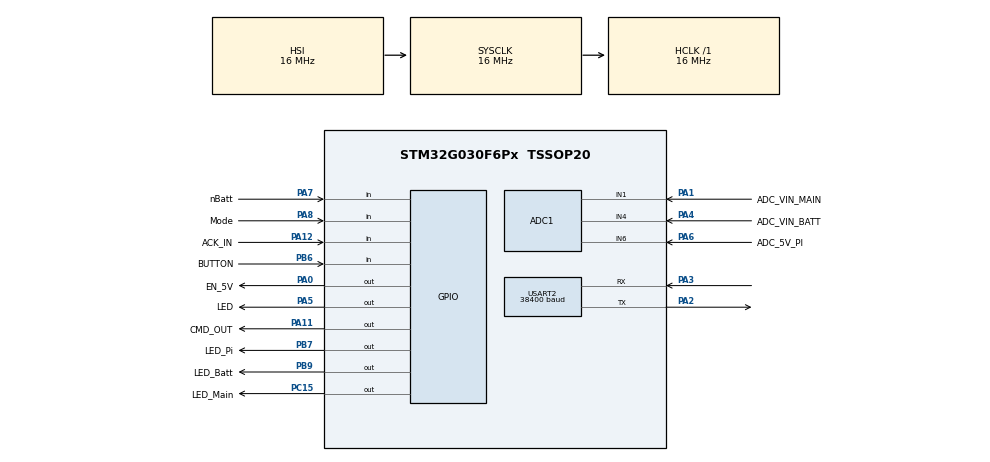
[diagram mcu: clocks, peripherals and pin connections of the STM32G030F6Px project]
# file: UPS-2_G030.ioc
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Mcu.Family=STM32G0
PA2.GPIO_PuPd=GPIO_PULLUP
ADC1.RightBitShift=ADC_RIGHTBITSHIFT_3
PA6.Mode=IN6
RCC.CortexFreq_Value=16000000
VP_ADC1_TempSens_Input.Mode=IN-TempSens
Dma.ADC1.0.Polarity=HAL_DMAMUX_REQ_GEN_RISING
PA11\ [PA9].GPIO_Label=CMD_OUT
PA12\ [PA10].GPIO_Label=ACK_IN
PA3.GPIO_PuPd=GPIO_PULLDOWN
PA0.GPIO_Label=EN_5V
PA14-BOOT0.Mode=Serial_Wire
PA2.GPIO_Speed=GPIO_SPEED_FREQ_MEDIUM
PA6.GPIO_Label=ADC_5V_PI
PB6.GPIO_Label=BUTTON
ADC1.SamplingTimeCommon1=ADC_SAMPLETIME_39CYCLES_5
ProjectManager.StackSize=0x400
NVIC.ADC1_IRQn=true\:0\:0\:false\:false\:true\:true\:true
PA4.Mode=IN4
RCC.HCLKFreq_Value=16000000
PA12\ [PA10].Signal=GPIO_Input
TIM3.Period=1
PB6.Signal=GPIO_Input
Dma.ADC1.0.Direction=DMA_PERIPH_TO_MEMORY
Dma.ADC1.0.MemDataAlignment=DMA_MDATAALIGN_HALFWORD
RCC.AHBFreq_Value=16000000
PA14-BOOT0.Signal=SYS_SWCLK
RCC.HSE_VALUE=8000000
USART2.VirtualMode-Asynchronous=VM_ASYNC
TIM3.Prescaler=8000
Dma.ADC1.0.PeriphInc=DMA_PINC_DISABLE
PB7.Signal=GPIO_Output
PA8.Signal=GPIO_Input
PA0.Signal=GPIO_Output
PB7.GPIO_Label=LED_Pi
ADC1.SelectedChannel=ADC_CHANNEL_1|ADC_CHANNEL_4|ADC_CHANNEL_6|ADC_CHANNEL_TEMPSENSOR
PB9.Signal=GPIO_Output
Mcu.Package=TSSOP20
PA6.Signal=ADC1_IN6
ADC1.OversamplingMode=ENABLE
PA0.GPIO_PuPd=GPIO_NOPULL
PA11\ [PA9].GPIO_ModeDefaultOutputPP=GPIO_MODE_OUTPUT_OD
Dma.Request0=ADC1
PA4.GPIO_Label=ADC_VIN_BATT
ADC1.EOCSelection=ADC_EOC_SEQ_CONV
VP_TIM3_VS_ClockSourceINT.Mode=Internal
PA0.GPIO_ModeDefaultOutputPP=GPIO_MODE_OUTPUT_PP
Dma.ADC1.0.EventEnable=DISABLE
PA3.Signal=USART2_RX
Dma.ADC1.0.Instance=DMA1_Channel1
PC15-OSC32_OUT\ (PC15).GPIO_Label=LED_Main
ADC1.Sequencer=NOT_FULLY_CONFIGURABLE
PA2.GPIO_ModeDefaultPP=GPIO_MODE_AF_OD
PB9.GPIO_Label=LED_Batt
PA11\ [PA9].GPIO_Speed=GPIO_SPEED_FREQ_LOW
USART2.DMADisableonRxErrorParam=ADVFEATURE_DMA_DISABLEONRXERROR
Dma.ADC1.0.SyncRequestNumber=1
PB6.GPIO_PuPd=GPIO_PULLUP
ADC1.DiscontinuousConvMode=ENABLE
RCC.EXTERNAL_CLOCK_VALUE=12288000
PC15-OSC32_OUT\ (PC15).Signal=GPIO_Output
NVIC.USART2_IRQn=true\:0\:0\:false\:false\:true\:true\:true
USART2.BaudRate=38400
PA13.Signal=SYS_SWDIO
PA3.Mode=Asynchronous
Dma.ADC1.0.PeriphDataAlignment=DMA_PDATAALIGN_HALFWORD
PA8.GPIO_Label=Mode
ProjectManager.TargetToolchain=STM32CubeIDE
Dma.ADC1.0.Mode=DMA_NORMAL
Dma.ADC1.0.SignalID=NONE
Dma.ADC1.0.SyncSignalID=NONE
Dma.ADC1.0.Priority=DMA_PRIORITY_LOW
PA11\ [PA9].GPIO_PuPd=GPIO_NOPULL
ADC1.Ratio=ADC_OVERSAMPLING_RATIO_8
RCC.LSE_VALUE=32768
PA7.GPIO_PuPd=GPIO_PULLUP
PA1.Signal=ADC1_IN1
PA5.Signal=GPIO_Output
board=custom
RCC.VCOOutputFreq_Value=128000000
NVIC.TIM3_IRQn=true\:0\:0\:false\:false\:true\:true\:true
Dma.ADC1.0.SyncPolarity=HAL_DMAMUX_SYNC_NO_EVENT
PA1.Mode=IN1
RCC.ADCFreq_Value=16000000
PA1.GPIO_Label=ADC_VIN_MAIN
PA11\ [PA9].PinState=GPIO_PIN_SET
ADC1.NbrOfConversion=1
PA13.Mode=Serial_Wire
PA11\ [PA9].Signal=GPIO_Output
Mcu.Name=STM32G030F6Px
PA2.Signal=USART2_TX
PA4.Signal=ADC1_IN4
RCC.SYSCLKFreq_VALUE=16000000
PA7.GPIO_Label=nBatt
ADC1.master=1
PA5.GPIO_Label=LED
ADC1.TriggerFrequencyMode=ADC_TRIGGER_FREQ_LOW
Dma.ADC1.0.RequestNumber=1
Dma.ADC1.0.SyncEnable=DISABLE
Dma.ADC1.0.MemInc=DMA_MINC_ENABLE
ProjectManager.HeapSize=0x200
PA12\ [PA10].GPIO_PuPd=GPIO_NOPULL
RCC.HSI_VALUE=16000000
PA8.GPIO_PuPd=GPIO_PULLUP
ADC1.NbrOfConversionFlag=0
PA2.Mode=Asynchronous
NVIC.DMA1_Channel1_IRQn=true\:0\:0\:false\:false\:true\:false\:true
PA7.Signal=GPIO_Input

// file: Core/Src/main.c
/* USER CODE BEGIN Header */
/*! @addtogroup Main
@{ */

/**
  ******************************************************************************
  * @file           : main.c
  * @brief          : Main program
  ******************************************************************************
  * @attention
  *
  * <h2><center>&copy; Copyright (c) 2020-2021 Klaus Mezger, ECOM ENGINEERING
  * Open Source licensed under BSD-2-Clause</center></h2>
  *
  * Development base software component is licensed by ST under BSD 3-Clause license,
  * the "License"; You may not use this file except in compliance with the
  * License. You may obtain a copy of the License at:
  *                        opensource.org/licenses/BSD-3-Clause
  *
  ******************************************************************************
  */
/* USER CODE END Header */
#include "main.h"

/* USER CODE BEGIN Includes */
#include "stdio.h"
#include "timer.h"
#include "interface.h"
#include "lowlevel.h"
#include "jump_bootloader.h"

/* USER CODE END Includes */

/* USER CODE BEGIN PTD */

typedef enum
{
	KEY_STATE_WAIT,
	KEY_STATE_DEBOUNCE,
	KEY_STATE_PRESSED,
	KEY_STATE_RELEASED,
	KEY_STATE_CHECK_DOUBLE,
	KEY_STATE_SUPER_LONG,
	KEY_STATE_LONG,
	KEY_STATE_SHORT,
	KEY_STATE_WAIT_RELEASE,
	KEY_STATE_DOUBLE
}eKeyStates_t;

/* USER CODE END PTD */

/* USER CODE BEGIN PD */
//#define KEY_T_SHORT 		200   	//ms
#define KEY_T_LONG 			(2000)  //ms
#define KEY_T_SUPER_LONG	(5000)
#define KEY_T_DEBOUNCE 		20		//ms
#define KEY_T_DBL_WINDOW	350	//ms
#define ADC_DMA_BUF_SIZE	32		//bytes --> 4 * 16Bit elements

/* USER CODE END PD */

ADC_HandleTypeDef hadc1;
DMA_HandleTypeDef hdma_adc1;

TIM_HandleTypeDef htim3;

/* USER CODE BEGIN PV */
volatile eKeyStates_t g_keyState;
__IO ITStatus UartReady = RESET;
uint8_t g_adcRdy;

/* USER CODE END PV */

void SystemClock_Config(void);
static void MX_GPIO_Init(void);
static void MX_DMA_Init(void);
static void MX_ADC1_Init(void);
static void MX_TIM3_Init(void);
static void MX_USART2_UART_Init(void);
/* USER CODE BEGIN PFP */
eKeyPress_t ecGetKey(void);
void ecDecodeKey(void);
void ecRx_Init(void);
//void ecTxString(char *String, size_t Size); //proto in main.h

/* USER CODE END PFP */

/* USER CODE BEGIN 0 */
char *ecFormatFixptStr(int16_t Raw_value)
{
    static char retStr[16];
    snprintf(retStr, sizeof(retStr)-1, "%d.%01d", Raw_value/10, (Raw_value % 10));
    return retStr;
}

/* USER CODE END 0 */

int main(void)
{
  /* USER CODE BEGIN 1 */
    eKeyPress_t keyPress;
    ePiState_t piState = PI_STATE_UNKNOWN;
    char mainMessage[81];
    uint16_t charsWritten;
#ifdef SERIAL_DEBUG
    char rxStrBuf[80];
#endif

  /* USER CODE END 1 */

  /* MCU Configuration--------------------------------------------------------*/

  /* Reset of all peripherals, Initializes the Flash interface and the Systick. */
  HAL_Init();

  /* Configure the system clock */
  SystemClock_Config();

  /* Initialize all configured peripherals */
  MX_GPIO_Init();
  MX_DMA_Init();
  MX_ADC1_Init();
  MX_TIM3_Init();
  MX_USART2_UART_Init();
  /* USER CODE BEGIN 2 */

  HAL_TIM_Base_Start_IT(&htim3); //1ms Timer
  ecSWTimerInit();
  ecLEDinit();

  if (HAL_GPIO_ReadPin(BUTTON_GPIO_Port, BUTTON_Pin) == 0) //check if bootloader requested
  {

	  ecSetLED(LED_Pi, LED_ON);
	  ecSetLED(LED_Main, LED_ON);
	  ecSetLED(LED_Batt, LED_ON);
	  ecSWTimerStart(DELAY_TIMER, KEY_T_LONG); //wait
	  int key = 1;
	  while(ecSWTimerRead(DELAY_TIMER) > 0)
	  {
		  key = HAL_GPIO_ReadPin(BUTTON_GPIO_Port, BUTTON_Pin); //check if button still active
		  if (key == 1)
			  break;
	  }
	  if(key == 0)
	  {
		JumpToBootloader();
	  }
	  ecSetLED(LED_Pi, LED_OFF);
	  ecSetLED(LED_Main, LED_OFF);
	  ecSetLED(LED_Batt, LED_OFF);

  }

  /* Run ADC calibration */
  if (HAL_ADCEx_Calibration_Start(&hadc1) != HAL_OK)
  {
    /* Calibration Error */
    Error_Handler();
  }

  g_sys_Mode = HAL_GPIO_ReadPin( Mode_GPIO_Port , Mode_Pin);

  strcpy(mainMessage, "\r\nUPS-2 Starting up ...\r\n" );
  ecTxString(mainMessage, strlen(mainMessage));
  ecRx_Init();

  HAL_GPIO_WritePin(CMD_OUT_GPIO_Port, CMD_OUT_Pin, GPIO_PIN_SET); //prepare Pi startup
  HAL_GPIO_WritePin(EN_5V_GPIO_Port,  EN_5V_Pin, GPIO_PIN_SET); //turn 5V Pi ON

  ecSWTimerStart(DELAY_TIMER, 1000); //wait s, allow system and power stabilization
  while(ecSWTimerRead(DELAY_TIMER));

//  HAL_UART_Receive_IT(&huart2,(uint8_t *)aRxBuffer, 1 );
  /* USER CODE END 2 */

  /* Infinite loop */
  /* USER CODE BEGIN WHILE */

  while (1)
  {

//toDo if piState == power OFF --> LED's short flashes for power save, CPU sleep until interrupts
	  if(g_adcRdy)
	  {
		  g_adcRdy = 0;
		  g_powerState = ecAnalogHandler(g_adc_voltages);
          if(ecSWTimerRead(MESSAGE_TIMER) == 0)
         {
             ecSWTimerStart(MESSAGE_TIMER, 1000);
             charsWritten = sprintf(g_analogStr,"%s",ecFormatFixptStr(g_adc_voltages.main_voltage));
             charsWritten += sprintf(&g_analogStr[charsWritten],",%s",ecFormatFixptStr(g_adc_voltages.batt_voltage));
             charsWritten += sprintf(&g_analogStr[charsWritten],",%d\n",g_adc_voltages.CPU_temp/10);

#ifdef SERIAL_DEBUG
//             ecTxString(mainMessage, strlen(mainMessage));
#endif
         }

	  }
	  else
	  {
		  HAL_ADC_Start_DMA(&hadc1, (uint32_t *)&g_adc_buf, 4);
	  }

#ifdef SERIAL_DEBUG
      charsWritten = ecGetRxString(rxStrBuf, sizeof(rxStrBuf));
      if(charsWritten)
      {
          sprintf(mainMessage, "Rx: %s, %d chars\r\n", rxStrBuf,charsWritten);

          ecTxString(mainMessage, strlen(mainMessage));
      }
#endif

	  keyPress = ecGetKey();
	  if(g_sys_Mode == SYS_MODE_PARALLEL)
	  {
	      ecPortExecCommand(keyPress);
	      piState = ecPortHandleFeedback(keyPress, piState);
	  }
	  else
	  {
          ecSerialExecCommand(keyPress);
          piState = ecSerialHandleFeedback(keyPress, piState);
	  }

    /* USER CODE END WHILE */

  }
}

void SystemClock_Config(void)
{
  RCC_OscInitTypeDef RCC_OscInitStruct = {0};
  RCC_ClkInitTypeDef RCC_ClkInitStruct = {0};
  RCC_PeriphCLKInitTypeDef PeriphClkInit = {0};

  /** Configure the main internal regulator output voltage
  */
  HAL_PWREx_ControlVoltageScaling(PWR_REGULATOR_VOLTAGE_SCALE1);
  /** Initializes the RCC Oscillators according to the specified parameters
  * in the RCC_OscInitTypeDef structure.
  */
  RCC_OscInitStruct.OscillatorType = RCC_OSCILLATORTYPE_HSI;
  RCC_OscInitStruct.HSIState = RCC_HSI_ON;
  RCC_OscInitStruct.HSIDiv = RCC_HSI_DIV1;
  RCC_OscInitStruct.HSICalibrationValue = RCC_HSICALIBRATION_DEFAULT;
  RCC_OscInitStruct.PLL.PLLState = RCC_PLL_NONE;
  if (HAL_RCC_OscConfig(&RCC_OscInitStruct) != HAL_OK)
  {
    Error_Handler();
  }
  /** Initializes the CPU, AHB and APB buses clocks
  */
  RCC_ClkInitStruct.ClockType = RCC_CLOCKTYPE_HCLK|RCC_CLOCKTYPE_SYSCLK
                              |RCC_CLOCKTYPE_PCLK1;
  RCC_ClkInitStruct.SYSCLKSource = RCC_SYSCLKSOURCE_HSI;
  RCC_ClkInitStruct.AHBCLKDivider = RCC_SYSCLK_DIV1;
  RCC_ClkInitStruct.APB1CLKDivider = RCC_HCLK_DIV1;

  if (HAL_RCC_ClockConfig(&RCC_ClkInitStruct, FLASH_LATENCY_0) != HAL_OK)
  {
    Error_Handler();
  }
  /** Initializes the peripherals clocks
  */
  PeriphClkInit.PeriphClockSelection = RCC_PERIPHCLK_ADC;
  PeriphClkInit.AdcClockSelection = RCC_ADCCLKSOURCE_SYSCLK;
  if (HAL_RCCEx_PeriphCLKConfig(&PeriphClkInit) != HAL_OK)
  {
    Error_Handler();
  }
}

static void MX_ADC1_Init(void)
{

  ADC_ChannelConfTypeDef sConfig = {0};

  /** Configure the global features of the ADC (Clock, Resolution, Data Alignment and number of conversion)
  */
  hadc1.Instance = ADC1;
  hadc1.Init.ClockPrescaler = ADC_CLOCK_SYNC_PCLK_DIV2;
  hadc1.Init.Resolution = ADC_RESOLUTION_12B;
  hadc1.Init.DataAlign = ADC_DATAALIGN_RIGHT;
  hadc1.Init.ScanConvMode = ADC_SCAN_SEQ_FIXED;
  hadc1.Init.EOCSelection = ADC_EOC_SEQ_CONV;
  hadc1.Init.LowPowerAutoWait = DISABLE;
  hadc1.Init.LowPowerAutoPowerOff = DISABLE;
  hadc1.Init.ContinuousConvMode = DISABLE;
  hadc1.Init.NbrOfConversion = 1;
  hadc1.Init.DiscontinuousConvMode = ENABLE;
  hadc1.Init.ExternalTrigConv = ADC_SOFTWARE_START;
  hadc1.Init.ExternalTrigConvEdge = ADC_EXTERNALTRIGCONVEDGE_NONE;
  hadc1.Init.DMAContinuousRequests = DISABLE;
  hadc1.Init.Overrun = ADC_OVR_DATA_PRESERVED;
  hadc1.Init.SamplingTimeCommon1 = ADC_SAMPLETIME_39CYCLES_5;
  hadc1.Init.OversamplingMode = ENABLE;
  hadc1.Init.Oversampling.Ratio = ADC_OVERSAMPLING_RATIO_8;
  hadc1.Init.Oversampling.RightBitShift = ADC_RIGHTBITSHIFT_3;
  hadc1.Init.Oversampling.TriggeredMode = ADC_TRIGGEREDMODE_SINGLE_TRIGGER;
  hadc1.Init.TriggerFrequencyMode = ADC_TRIGGER_FREQ_LOW;
  if (HAL_ADC_Init(&hadc1) != HAL_OK)
  {
    Error_Handler();
  }
  /** Configure Regular Channel
  */
  sConfig.Channel = ADC_CHANNEL_1;
  sConfig.Rank = ADC_RANK_CHANNEL_NUMBER;
  if (HAL_ADC_ConfigChannel(&hadc1, &sConfig) != HAL_OK)
  {
    Error_Handler();
  }
  /** Configure Regular Channel
  */
  sConfig.Channel = ADC_CHANNEL_4;
  if (HAL_ADC_ConfigChannel(&hadc1, &sConfig) != HAL_OK)
  {
    Error_Handler();
  }
  /** Configure Regular Channel
  */
  sConfig.Channel = ADC_CHANNEL_6;
  if (HAL_ADC_ConfigChannel(&hadc1, &sConfig) != HAL_OK)
  {
    Error_Handler();
  }
  /** Configure Regular Channel
  */
  sConfig.Channel = ADC_CHANNEL_TEMPSENSOR;
  if (HAL_ADC_ConfigChannel(&hadc1, &sConfig) != HAL_OK)
  {
    Error_Handler();
  }
  /* USER CODE BEGIN ADC1_Init 2 */
//  g_hadc1 = hadc1; //make handle global
  /* USER CODE END ADC1_Init 2 */

}

static void MX_TIM3_Init(void)
{

  TIM_ClockConfigTypeDef sClockSourceConfig = {0};
  TIM_MasterConfigTypeDef sMasterConfig = {0};

  htim3.Instance = TIM3;
  htim3.Init.Prescaler = 8000;
  htim3.Init.CounterMode = TIM_COUNTERMODE_UP;
  htim3.Init.Period = 1;
  htim3.Init.ClockDivision = TIM_CLOCKDIVISION_DIV1;
  htim3.Init.AutoReloadPreload = TIM_AUTORELOAD_PRELOAD_DISABLE;
  if (HAL_TIM_Base_Init(&htim3) != HAL_OK)
  {
    Error_Handler();
  }
  sClockSourceConfig.ClockSource = TIM_CLOCKSOURCE_INTERNAL;
  if (HAL_TIM_ConfigClockSource(&htim3, &sClockSourceConfig) != HAL_OK)
  {
    Error_Handler();
  }
  sMasterConfig.MasterOutputTrigger = TIM_TRGO_RESET;
  sMasterConfig.MasterSlaveMode = TIM_MASTERSLAVEMODE_DISABLE;
  if (HAL_TIMEx_MasterConfigSynchronization(&htim3, &sMasterConfig) != HAL_OK)
  {
    Error_Handler();
  }

}

static void MX_USART2_UART_Init(void)
{

  LL_USART_InitTypeDef USART_InitStruct = {0};

  LL_GPIO_InitTypeDef GPIO_InitStruct = {0};

  /* Peripheral clock enable */
  LL_APB1_GRP1_EnableClock(LL_APB1_GRP1_PERIPH_USART2);

  LL_IOP_GRP1_EnableClock(LL_IOP_GRP1_PERIPH_GPIOA);
  /**USART2 GPIO Configuration
  PA2   ------> USART2_TX
  PA3   ------> USART2_RX
  */
  GPIO_InitStruct.Pin = LL_GPIO_PIN_2;
  GPIO_InitStruct.Mode = LL_GPIO_MODE_ALTERNATE;
  GPIO_InitStruct.Speed = LL_GPIO_SPEED_FREQ_MEDIUM;
  GPIO_InitStruct.OutputType = LL_GPIO_OUTPUT_OPENDRAIN;
  GPIO_InitStruct.Pull = LL_GPIO_PULL_UP;
  GPIO_InitStruct.Alternate = LL_GPIO_AF_1;
  LL_GPIO_Init(GPIOA, &GPIO_InitStruct);

  GPIO_InitStruct.Pin = LL_GPIO_PIN_3;
  GPIO_InitStruct.Mode = LL_GPIO_MODE_ALTERNATE;
  GPIO_InitStruct.Speed = LL_GPIO_SPEED_FREQ_LOW;
  GPIO_InitStruct.OutputType = LL_GPIO_OUTPUT_PUSHPULL;
  GPIO_InitStruct.Pull = LL_GPIO_PULL_DOWN;
  GPIO_InitStruct.Alternate = LL_GPIO_AF_1;
  LL_GPIO_Init(GPIOA, &GPIO_InitStruct);

  /* USART2 interrupt Init */
  NVIC_SetPriority(USART2_IRQn, 0);
  NVIC_EnableIRQ(USART2_IRQn);

  USART_InitStruct.PrescalerValue = LL_USART_PRESCALER_DIV1;
  USART_InitStruct.BaudRate = 38400;
  USART_InitStruct.DataWidth = LL_USART_DATAWIDTH_8B;
  USART_InitStruct.StopBits = LL_USART_STOPBITS_1;
  USART_InitStruct.Parity = LL_USART_PARITY_NONE;
  USART_InitStruct.TransferDirection = LL_USART_DIRECTION_TX_RX;
  USART_InitStruct.HardwareFlowControl = LL_USART_HWCONTROL_NONE;
  USART_InitStruct.OverSampling = LL_USART_OVERSAMPLING_16;
  LL_USART_Init(USART2, &USART_InitStruct);
  LL_USART_DisableDMADeactOnRxErr(USART2);
  LL_USART_ConfigAsyncMode(USART2);

  LL_USART_Enable(USART2);

  /* Polling USART2 initialisation */
  while((!(LL_USART_IsActiveFlag_TEACK(USART2))) || (!(LL_USART_IsActiveFlag_REACK(USART2))))
  {
  }

}

static void MX_DMA_Init(void)
{

  /* DMA controller clock enable */
  __HAL_RCC_DMA1_CLK_ENABLE();

  /* DMA interrupt init */
  /* DMA1_Channel1_IRQn interrupt configuration */
  HAL_NVIC_SetPriority(DMA1_Channel1_IRQn, 0, 0);
  HAL_NVIC_EnableIRQ(DMA1_Channel1_IRQn);

}

static void MX_GPIO_Init(void)
{
  GPIO_InitTypeDef GPIO_InitStruct = {0};

  /* GPIO Ports Clock Enable */
  __HAL_RCC_GPIOB_CLK_ENABLE();
  __HAL_RCC_GPIOC_CLK_ENABLE();
  __HAL_RCC_GPIOA_CLK_ENABLE();

  /*Configure GPIO pin Output Level */
  HAL_GPIO_WritePin(GPIOB, LED_Pi_Pin|LED_Batt_Pin, GPIO_PIN_RESET);

  /*Configure GPIO pin Output Level */
  HAL_GPIO_WritePin(LED_Main_GPIO_Port, LED_Main_Pin, GPIO_PIN_RESET);

  /*Configure GPIO pin Output Level */
  HAL_GPIO_WritePin(GPIOA, EN_5V_Pin|CMD_OUT_Pin, GPIO_PIN_SET);

  /*Configure GPIO pin Output Level */
  HAL_GPIO_WritePin(LED_GPIO_Port, LED_Pin, GPIO_PIN_RESET);

  /*Configure GPIO pins : LED_Pi_Pin LED_Batt_Pin */
  GPIO_InitStruct.Pin = LED_Pi_Pin|LED_Batt_Pin;
  GPIO_InitStruct.Mode = GPIO_MODE_OUTPUT_PP;
  GPIO_InitStruct.Pull = GPIO_NOPULL;
  GPIO_InitStruct.Speed = GPIO_SPEED_FREQ_LOW;
  HAL_GPIO_Init(GPIOB, &GPIO_InitStruct);

  /*Configure GPIO pin : LED_Main_Pin */
  GPIO_InitStruct.Pin = LED_Main_Pin;
  GPIO_InitStruct.Mode = GPIO_MODE_OUTPUT_PP;
  GPIO_InitStruct.Pull = GPIO_NOPULL;
  GPIO_InitStruct.Speed = GPIO_SPEED_FREQ_LOW;
  HAL_GPIO_Init(LED_Main_GPIO_Port, &GPIO_InitStruct);

  /*Configure GPIO pins : EN_5V_Pin LED_Pin */
  GPIO_InitStruct.Pin = EN_5V_Pin|LED_Pin;
  GPIO_InitStruct.Mode = GPIO_MODE_OUTPUT_PP;
  GPIO_InitStruct.Pull = GPIO_NOPULL;
  GPIO_InitStruct.Speed = GPIO_SPEED_FREQ_LOW;
  HAL_GPIO_Init(GPIOA, &GPIO_InitStruct);

  /*Configure GPIO pins : nBatt_Pin Mode_Pin */
  GPIO_InitStruct.Pin = nBatt_Pin|Mode_Pin;
  GPIO_InitStruct.Mode = GPIO_MODE_INPUT;
  GPIO_InitStruct.Pull = GPIO_PULLUP;
  HAL_GPIO_Init(GPIOA, &GPIO_InitStruct);

  /*Configure GPIO pin : CMD_OUT_Pin */
  GPIO_InitStruct.Pin = CMD_OUT_Pin;
  GPIO_InitStruct.Mode = GPIO_MODE_OUTPUT_OD;
  GPIO_InitStruct.Pull = GPIO_NOPULL;
  GPIO_InitStruct.Speed = GPIO_SPEED_FREQ_LOW;
  HAL_GPIO_Init(CMD_OUT_GPIO_Port, &GPIO_InitStruct);

  /*Configure GPIO pin : ACK_IN_Pin */
  GPIO_InitStruct.Pin = ACK_IN_Pin;
  GPIO_InitStruct.Mode = GPIO_MODE_INPUT;
  GPIO_InitStruct.Pull = GPIO_NOPULL;
  HAL_GPIO_Init(ACK_IN_GPIO_Port, &GPIO_InitStruct);

  /*Configure GPIO pin : BUTTON_Pin */
  GPIO_InitStruct.Pin = BUTTON_Pin;
  GPIO_InitStruct.Mode = GPIO_MODE_INPUT;
  GPIO_InitStruct.Pull = GPIO_PULLUP;
  HAL_GPIO_Init(BUTTON_GPIO_Port, &GPIO_InitStruct);

}

/* USER CODE BEGIN 4 */

/**
  * @brief  		Triggers Software timers with TIM3 period
  * @param[in]		*htim
  * param[out]		None
  * @retval 		None
  */
void HAL_TIM_PeriodElapsedCallback(TIM_HandleTypeDef *htim)
{
	if(htim == &htim3)
	{
		ecSWTimerClk();
		ecDecodeKey();
		ecBlinkHandler();
	}
}

/**
  * @brief 		Key press mode analyzer.
  * @param[in]  *hadc1 					adc1 handle
  * @param[out]	g_adc_voltages 			global data structure
  * @param[out]	g_adcRdy				global sync flag measurement complete
  * @retval 	None
	  */
void HAL_ADC_ConvCpltCallback(ADC_HandleTypeDef *hadc1)
{

    // values in mV with divider 510kk - 62kk
    g_adc_voltages.main_voltage = (((g_adc_buf.main_voltage / 2) * 15) / 100) + 3;    //[100mV] incl input diode threshold
    g_adc_voltages.batt_voltage = (((g_adc_buf.batt_voltage / 2) * 15) / 100) + 3;    //[100mV] incl input diode threshold
    //ignore diode threshold if no input present
    if(g_adc_voltages.main_voltage < 5)
        g_adc_voltages.main_voltage = 0;
    if(g_adc_voltages.batt_voltage < 5)
        g_adc_voltages.batt_voltage = 0;

    // >19 --> Pi is powered by USB connector
    g_adc_voltages.Pi_voltage = g_adc_buf.Pi_voltage / 124; //result in 1/10 V

    g_adc_voltages.CPU_temp = ecGetCPUTemp(g_adc_buf.CPU_temp);

    g_adcRdy = 1;
};

void HAL_ADC_ConvHalfCpltCallback(ADC_HandleTypeDef *hadc1)
{
//	adc_value = 0;
};

/**
  * @brief 		Key press mode analyzer.
  * @param[in] 	None
  * @param[out]	global keyState
  * @retval 	None
	  */
	/* Function called by timer interrupt */
void ecDecodeKey(void)
{

    static uint16_t keyTimer;
    switch (g_keyState)
    {
        case KEY_STATE_WAIT:
            if (HAL_GPIO_ReadPin(BUTTON_GPIO_Port, BUTTON_Pin) == 0) //low active input
            {
                keyTimer = 0;
                g_keyState = KEY_STATE_DEBOUNCE;
            }
            break;

        case KEY_STATE_DEBOUNCE:
            keyTimer ++;
            if(keyTimer > KEY_T_DEBOUNCE)
            {
              if (HAL_GPIO_ReadPin(BUTTON_GPIO_Port, BUTTON_Pin) == 0) //still active
                  g_keyState = KEY_STATE_PRESSED;
              else
                  g_keyState = KEY_STATE_WAIT;
            }

            break;

        case KEY_STATE_PRESSED:
            keyTimer ++;
            if (HAL_GPIO_ReadPin(BUTTON_GPIO_Port, BUTTON_Pin) == 1) //key released?
            {
                g_keyState = KEY_STATE_RELEASED;
            }
            break;

        case KEY_STATE_RELEASED:
            if(keyTimer > KEY_T_SUPER_LONG)
            {
                g_keyState = KEY_STATE_SUPER_LONG;
            }else
            if(keyTimer > KEY_T_LONG)
            {
                g_keyState = KEY_STATE_LONG;
            }else
            {
                g_keyState = KEY_STATE_CHECK_DOUBLE;
                keyTimer = 0;
            }
            break;
        case KEY_STATE_CHECK_DOUBLE: //new key within double klick window?
            if (HAL_GPIO_ReadPin(BUTTON_GPIO_Port, BUTTON_Pin) == 1) //key still released?
            {
                keyTimer++;
                if(keyTimer > KEY_T_DBL_WINDOW)
                {
                    g_keyState = KEY_STATE_SHORT;
                }
            }
            else //key pressed again
            {
                g_keyState = KEY_STATE_WAIT_RELEASE;
                keyTimer = 0;
            }
            break;

        case KEY_STATE_WAIT_RELEASE:
            if (HAL_GPIO_ReadPin(BUTTON_GPIO_Port, BUTTON_Pin) == 1)
            {
                g_keyState = KEY_STATE_DOUBLE;
            }
            break;

        default:
            break;
    }

}

/**
  * @brief 		public access function
  * @param[in] 	global keyState
  * @param[out]	None
  * @retval 	key action type
  */
eKeyPress_t ecGetKey(void)
{

	eKeyPress_t retVal;
 	retVal = KEY_NO_PRESS;

 	switch (g_keyState)
 	{
 	case KEY_STATE_PRESSED:
 		retVal = KEY_PENDING;
 		break;
 	case KEY_STATE_SUPER_LONG:
		retVal = KEY_SUPER_LONG_PRESS;
		g_keyState = KEY_STATE_WAIT;
		break;
 	case KEY_STATE_LONG:
		retVal = KEY_LONG_PRESS;
		g_keyState = KEY_STATE_WAIT;
		break;
	case KEY_STATE_SHORT:
		retVal = KEY_SHORT_PRESS;
		g_keyState = KEY_STATE_WAIT;
		break;
	case KEY_STATE_DOUBLE:
		retVal = KEY_DOUBLE_PRESS;
		g_keyState = KEY_STATE_WAIT;
		break;
	default:
		break;
 	}

	return retVal;
}

/* USER CODE END 4 */

void Error_Handler(void)
{
}

/************************ (C) COPYRIGHT STMicroelectronics *****END OF FILE****/
